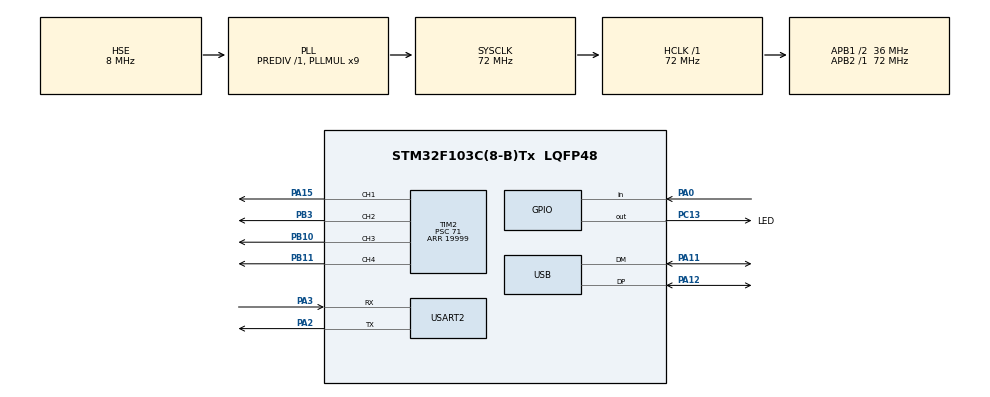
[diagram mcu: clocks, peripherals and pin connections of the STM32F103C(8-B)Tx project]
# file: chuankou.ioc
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Mcu.Family=STM32F1
Mcu.Name=STM32F103C(8-B)Tx
Mcu.Package=LQFP48
NVIC.PriorityGroup=NVIC_PRIORITYGROUP_4
NVIC.TIM3_IRQn=true\:0\:0\:false\:false\:true\:true\:true\:true
NVIC.USART2_IRQn=true\:0\:0\:false\:false\:true\:true\:true\:true
PA0-WKUP.GPIO_PuPd=GPIO_PULLUP
PA0-WKUP.Signal=GPIO_Input
PA11.Mode=Device
PA11.Signal=USB_DM
PA12.Mode=Device
PA12.Signal=USB_DP
PA13.Mode=Serial_Wire
PA13.Signal=SYS_JTMS-SWDIO
PA14.Mode=Serial_Wire
PA14.Signal=SYS_JTCK-SWCLK
PA15.Signal=S_TIM2_CH1_ETR
PA2.Mode=Asynchronous
PA2.Signal=USART2_TX
PA3.Mode=Asynchronous
PA3.Signal=USART2_RX
PB10.Signal=S_TIM2_CH3
PB11.Signal=S_TIM2_CH4
PB3.Signal=S_TIM2_CH2
PC13-TAMPER-RTC.GPIO_Label=LED
PC13-TAMPER-RTC.Signal=GPIO_Output
PD0-OSC_IN.Mode=HSE-External-Oscillator
PD0-OSC_IN.Signal=RCC_OSC_IN
PD1-OSC_OUT.Mode=HSE-External-Oscillator
PD1-OSC_OUT.Signal=RCC_OSC_OUT
ProjectManager.HeapSize=0x400
ProjectManager.StackSize=0x400
ProjectManager.TargetToolchain=CMake
RCC.AHBFreq_Value=72000000
RCC.APB1CLKDivider=RCC_HCLK_DIV2
RCC.APB1Freq_Value=36000000
RCC.APB1TimFreq_Value=72000000
RCC.APB2Freq_Value=72000000
RCC.APB2TimFreq_Value=72000000
RCC.HCLKFreq_Value=72000000
RCC.PLLMUL=RCC_PLL_MUL9
RCC.PLLSourceVirtual=RCC_PLLSOURCE_HSE
RCC.SYSCLKFreq_VALUE=72000000
RCC.SYSCLKSource=RCC_SYSCLKSOURCE_PLLCLK
RCC.USBFreq_Value=48000000
RCC.USBPrescaler=RCC_USBCLKSOURCE_PLL_DIV1_5
SH.S_TIM2_CH1_ETR.0=TIM2_CH1,PWM Generation1 CH1
SH.S_TIM2_CH2.0=TIM2_CH2,PWM Generation2 CH2
SH.S_TIM2_CH3.0=TIM2_CH3,PWM Generation3 CH3
SH.S_TIM2_CH4.0=TIM2_CH4,PWM Generation4 CH4
TIM2.Channel-PWM\ Generation1\ CH1=TIM_CHANNEL_1
TIM2.Channel-PWM\ Generation2\ CH2=TIM_CHANNEL_2
TIM2.Channel-PWM\ Generation3\ CH3=TIM_CHANNEL_3
TIM2.Channel-PWM\ Generation4\ CH4=TIM_CHANNEL_4
TIM2.Period=19999
TIM2.Prescaler=71
TIM3.Period=9
TIM3.Prescaler=7199
USART2.VirtualMode=VM_ASYNC
VP_TIM2_VS_ClockSourceINT.Mode=Internal
VP_TIM3_VS_ClockSourceINT.Mode=Internal
board=custom

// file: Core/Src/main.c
/* USER CODE BEGIN Header */
/**
  ******************************************************************************
  * @file           : main.c
  * @brief          : Main program body
  ******************************************************************************
  * @attention
  *
  * Copyright (c) 2026 STMicroelectronics.
  * All rights reserved.
  *
  * This software is licensed under terms that can be found in the LICENSE file
  * in the root directory of this software component.
  * If no LICENSE file comes with this software, it is provided AS-IS.
  *
  ******************************************************************************
  */
/* USER CODE END Header */
#include "main.h"

/* USER CODE BEGIN Includes */
#include <stdio.h>
#include "bsp_pwm.h"
#include "bsp_traj.h"
#include "stm32f1xx_hal.h"
#include "stm32f1xx_hal_tim.h"

/* USER CODE END Includes */

TIM_HandleTypeDef htim2;
TIM_HandleTypeDef htim3;

UART_HandleTypeDef huart2;

PCD_HandleTypeDef hpcd_USB_FS;

void SystemClock_Config(void);
static void MX_GPIO_Init(void);
static void MX_USART2_UART_Init(void);
static void MX_USB_PCD_Init(void);
static void MX_TIM2_Init(void);
static void MX_TIM3_Init(void);

/* USER CODE BEGIN 0 */
int _write(int file,char *ptr, int len)
{
  HAL_UART_Transmit(&huart2, (uint8_t*)ptr, len, HAL_MAX_DELAY);
  return len;
}
/* USER CODE END 0 */

int main(void)
{

  /* MCU Configuration--------------------------------------------------------*/

  /* Reset of all peripherals, Initializes the Flash interface and the Systick. */
  HAL_Init();

  /* Configure the system clock */
  SystemClock_Config();

  /* Initialize all configured peripherals */
  MX_GPIO_Init();
  MX_USART2_UART_Init();
  MX_USB_PCD_Init();
  MX_TIM2_Init();
  MX_TIM3_Init();
  /* USER CODE BEGIN 2 */
printf("chuankou\r\n");
printf("System clock:%lu Hz\r\n",SystemCoreClock);
HAL_TIM_PWM_Start(&htim2, TIM_CHANNEL_1);
HAL_TIM_PWM_Start(&htim2, TIM_CHANNEL_2);
HAL_TIM_PWM_Start(&htim2, TIM_CHANNEL_3);
HAL_TIM_PWM_Start(&htim2, TIM_CHANNEL_4);
HAL_TIM_Base_Start_IT(&htim3);
Traj_Init();
Set_All_Targets(90.0, 90.0, 90.0, 90.0);
  /* USER CODE END 2 */

  /* Infinite loop */
  /* USER CODE BEGIN WHILE */
  while (1)
  {HAL_GPIO_TogglePin(LED_GPIO_Port, LED_Pin);
    HAL_Delay(500);
    if (HAL_GPIO_ReadPin(GPIOA, GPIO_PIN_0)==GPIO_PIN_RESET) {
      HAL_Delay(20);
      HAL_GPIO_TogglePin(LED_GPIO_Port, LED_Pin);
      while(HAL_GPIO_ReadPin(GPIOA, GPIO_PIN_0)==GPIO_PIN_RESET);

    }
    Set_All_Targets(180.0, 45.0, 120.0, 60.0);
    HAL_Delay(3000);
    Set_All_Targets(90.0, 90.0, 90.0, 90.0);
    HAL_Delay(3000);
    /* USER CODE END WHILE */

  }
}

void SystemClock_Config(void)
{
  RCC_OscInitTypeDef RCC_OscInitStruct = {0};
  RCC_ClkInitTypeDef RCC_ClkInitStruct = {0};
  RCC_PeriphCLKInitTypeDef PeriphClkInit = {0};

  /** Initializes the RCC Oscillators according to the specified parameters
  * in the RCC_OscInitTypeDef structure.
  */
  RCC_OscInitStruct.OscillatorType = RCC_OSCILLATORTYPE_HSE;
  RCC_OscInitStruct.HSEState = RCC_HSE_ON;
  RCC_OscInitStruct.HSEPredivValue = RCC_HSE_PREDIV_DIV1;
  RCC_OscInitStruct.HSIState = RCC_HSI_ON;
  RCC_OscInitStruct.PLL.PLLState = RCC_PLL_ON;
  RCC_OscInitStruct.PLL.PLLSource = RCC_PLLSOURCE_HSE;
  RCC_OscInitStruct.PLL.PLLMUL = RCC_PLL_MUL9;
  if (HAL_RCC_OscConfig(&RCC_OscInitStruct) != HAL_OK)
  {
    Error_Handler();
  }

  /** Initializes the CPU, AHB and APB buses clocks
  */
  RCC_ClkInitStruct.ClockType = RCC_CLOCKTYPE_HCLK|RCC_CLOCKTYPE_SYSCLK
                              |RCC_CLOCKTYPE_PCLK1|RCC_CLOCKTYPE_PCLK2;
  RCC_ClkInitStruct.SYSCLKSource = RCC_SYSCLKSOURCE_PLLCLK;
  RCC_ClkInitStruct.AHBCLKDivider = RCC_SYSCLK_DIV1;
  RCC_ClkInitStruct.APB1CLKDivider = RCC_HCLK_DIV2;
  RCC_ClkInitStruct.APB2CLKDivider = RCC_HCLK_DIV1;

  if (HAL_RCC_ClockConfig(&RCC_ClkInitStruct, FLASH_LATENCY_2) != HAL_OK)
  {
    Error_Handler();
  }
  PeriphClkInit.PeriphClockSelection = RCC_PERIPHCLK_USB;
  PeriphClkInit.UsbClockSelection = RCC_USBCLKSOURCE_PLL_DIV1_5;
  if (HAL_RCCEx_PeriphCLKConfig(&PeriphClkInit) != HAL_OK)
  {
    Error_Handler();
  }
}

static void MX_TIM2_Init(void)
{

  TIM_ClockConfigTypeDef sClockSourceConfig = {0};
  TIM_MasterConfigTypeDef sMasterConfig = {0};
  TIM_OC_InitTypeDef sConfigOC = {0};

  htim2.Instance = TIM2;
  htim2.Init.Prescaler = 71;
  htim2.Init.CounterMode = TIM_COUNTERMODE_UP;
  htim2.Init.Period = 19999;
  htim2.Init.ClockDivision = TIM_CLOCKDIVISION_DIV1;
  htim2.Init.AutoReloadPreload = TIM_AUTORELOAD_PRELOAD_DISABLE;
  if (HAL_TIM_Base_Init(&htim2) != HAL_OK)
  {
    Error_Handler();
  }
  sClockSourceConfig.ClockSource = TIM_CLOCKSOURCE_INTERNAL;
  if (HAL_TIM_ConfigClockSource(&htim2, &sClockSourceConfig) != HAL_OK)
  {
    Error_Handler();
  }
  if (HAL_TIM_PWM_Init(&htim2) != HAL_OK)
  {
    Error_Handler();
  }
  sMasterConfig.MasterOutputTrigger = TIM_TRGO_RESET;
  sMasterConfig.MasterSlaveMode = TIM_MASTERSLAVEMODE_DISABLE;
  if (HAL_TIMEx_MasterConfigSynchronization(&htim2, &sMasterConfig) != HAL_OK)
  {
    Error_Handler();
  }
  sConfigOC.OCMode = TIM_OCMODE_PWM1;
  sConfigOC.Pulse = 0;
  sConfigOC.OCPolarity = TIM_OCPOLARITY_HIGH;
  sConfigOC.OCFastMode = TIM_OCFAST_DISABLE;
  if (HAL_TIM_PWM_ConfigChannel(&htim2, &sConfigOC, TIM_CHANNEL_1) != HAL_OK)
  {
    Error_Handler();
  }
  if (HAL_TIM_PWM_ConfigChannel(&htim2, &sConfigOC, TIM_CHANNEL_2) != HAL_OK)
  {
    Error_Handler();
  }
  if (HAL_TIM_PWM_ConfigChannel(&htim2, &sConfigOC, TIM_CHANNEL_3) != HAL_OK)
  {
    Error_Handler();
  }
  if (HAL_TIM_PWM_ConfigChannel(&htim2, &sConfigOC, TIM_CHANNEL_4) != HAL_OK)
  {
    Error_Handler();
  }
  HAL_TIM_MspPostInit(&htim2);

}

static void MX_TIM3_Init(void)
{

  TIM_ClockConfigTypeDef sClockSourceConfig = {0};
  TIM_MasterConfigTypeDef sMasterConfig = {0};

  htim3.Instance = TIM3;
  htim3.Init.Prescaler = 7199;
  htim3.Init.CounterMode = TIM_COUNTERMODE_UP;
  htim3.Init.Period = 9;
  htim3.Init.ClockDivision = TIM_CLOCKDIVISION_DIV1;
  htim3.Init.AutoReloadPreload = TIM_AUTORELOAD_PRELOAD_DISABLE;
  if (HAL_TIM_Base_Init(&htim3) != HAL_OK)
  {
    Error_Handler();
  }
  sClockSourceConfig.ClockSource = TIM_CLOCKSOURCE_INTERNAL;
  if (HAL_TIM_ConfigClockSource(&htim3, &sClockSourceConfig) != HAL_OK)
  {
    Error_Handler();
  }
  sMasterConfig.MasterOutputTrigger = TIM_TRGO_RESET;
  sMasterConfig.MasterSlaveMode = TIM_MASTERSLAVEMODE_DISABLE;
  if (HAL_TIMEx_MasterConfigSynchronization(&htim3, &sMasterConfig) != HAL_OK)
  {
    Error_Handler();
  }

}

static void MX_USART2_UART_Init(void)
{

  huart2.Instance = USART2;
  huart2.Init.BaudRate = 115200;
  huart2.Init.WordLength = UART_WORDLENGTH_8B;
  huart2.Init.StopBits = UART_STOPBITS_1;
  huart2.Init.Parity = UART_PARITY_NONE;
  huart2.Init.Mode = UART_MODE_TX_RX;
  huart2.Init.HwFlowCtl = UART_HWCONTROL_NONE;
  huart2.Init.OverSampling = UART_OVERSAMPLING_16;
  if (HAL_UART_Init(&huart2) != HAL_OK)
  {
    Error_Handler();
  }

}

static void MX_USB_PCD_Init(void)
{

  hpcd_USB_FS.Instance = USB;
  hpcd_USB_FS.Init.dev_endpoints = 8;
  hpcd_USB_FS.Init.speed = PCD_SPEED_FULL;
  hpcd_USB_FS.Init.low_power_enable = DISABLE;
  hpcd_USB_FS.Init.lpm_enable = DISABLE;
  hpcd_USB_FS.Init.battery_charging_enable = DISABLE;
  if (HAL_PCD_Init(&hpcd_USB_FS) != HAL_OK)
  {
    Error_Handler();
  }

}

static void MX_GPIO_Init(void)
{
  GPIO_InitTypeDef GPIO_InitStruct = {0};

  /* GPIO Ports Clock Enable */
  __HAL_RCC_GPIOC_CLK_ENABLE();
  __HAL_RCC_GPIOD_CLK_ENABLE();
  __HAL_RCC_GPIOA_CLK_ENABLE();
  __HAL_RCC_GPIOB_CLK_ENABLE();

  /*Configure GPIO pin Output Level */
  HAL_GPIO_WritePin(LED_GPIO_Port, LED_Pin, GPIO_PIN_RESET);

  /*Configure GPIO pin : LED_Pin */
  GPIO_InitStruct.Pin = LED_Pin;
  GPIO_InitStruct.Mode = GPIO_MODE_OUTPUT_PP;
  GPIO_InitStruct.Pull = GPIO_NOPULL;
  GPIO_InitStruct.Speed = GPIO_SPEED_FREQ_LOW;
  HAL_GPIO_Init(LED_GPIO_Port, &GPIO_InitStruct);

  /*Configure GPIO pin : PA0 */
  GPIO_InitStruct.Pin = GPIO_PIN_0;
  GPIO_InitStruct.Mode = GPIO_MODE_INPUT;
  GPIO_InitStruct.Pull = GPIO_PULLUP;
  HAL_GPIO_Init(GPIOA, &GPIO_InitStruct);

}

/* USER CODE BEGIN 4 */
void HAL_TIM_PeriodElapsedCallback(TIM_HandleTypeDef *htim){
  if (htim->Instance==TIM3) {
  Traj_Update();
  }
}
/* USER CODE END 4 */

void Error_Handler(void)
{
  __disable_irq();
  while (1)
  {
  }
}
